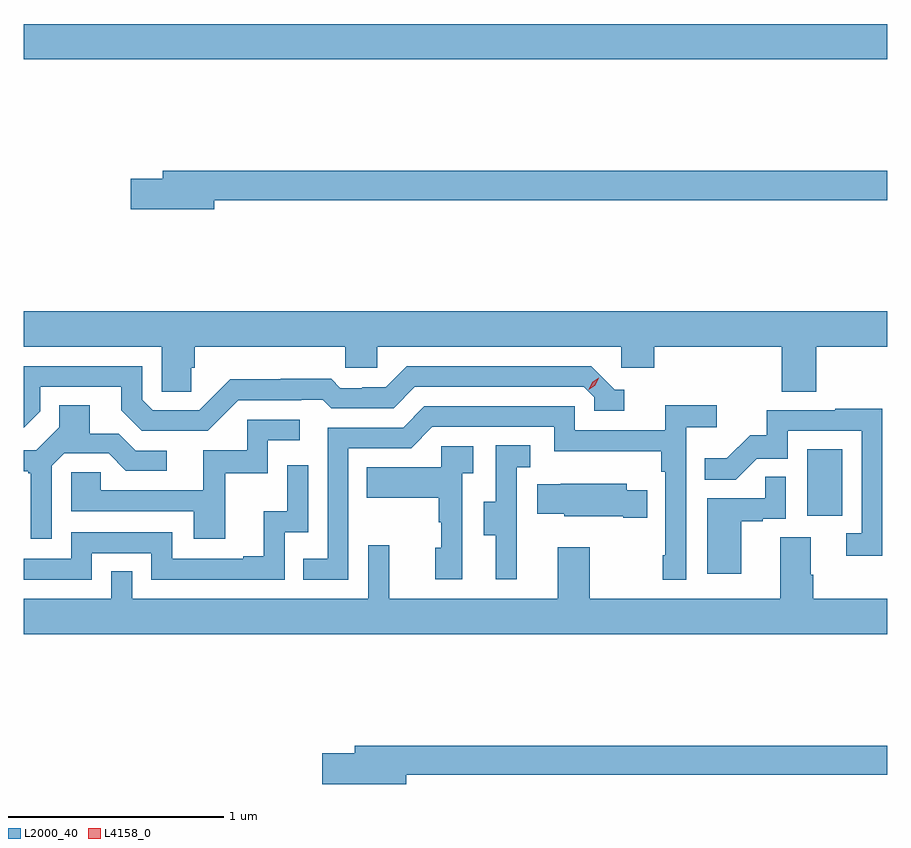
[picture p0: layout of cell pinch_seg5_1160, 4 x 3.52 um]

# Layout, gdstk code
import gdstk
lib = gdstk.Library(unit=1e-6, precision=1e-09)
def R(c, l, rs):  # rectangles x0, y0, x1, y1
    for r in rs: c.add(gdstk.rectangle(r[:2], r[2:], *l))
def P(c, l, *ps):  # polygons
    for p in ps: c.add(gdstk.Polygon(p, *l))
L2000_40 = (2000, 40)
L4158_0 = (4158, 0)

pinch_seg5_1160 = lib.new_cell('pinch_seg5_1160')
R(pinch_seg5_1160, L2000_40, [(880.424,841.326,880.588,841.633), (876.795,843.44,880.795,843.604)])
P(pinch_seg5_1160, L2000_40, [(877.678,842.788),(880.795,842.788),(880.795,842.924),(877.439,842.924),(877.439,842.888),(877.29,842.888),(877.29,842.746),(877.678,842.746)],
  [(877.571,842.01),(877.586,842.01),(877.586,842.108),(878.283,842.108),(878.283,842.01),(878.433,842.01),(878.433,842.108),(879.564,842.108),(879.564,842.01),(879.716,842.01),(879.716,842.108),(880.307,842.108),(880.307,841.9),(880.467,841.9),(880.467,842.108),(880.795,842.108),(880.795,842.272),(876.795,842.272),(876.795,842.108),(877.434,842.108),(877.434,841.9),(877.571,841.9)],
  [(877.788,841.86),(878.081,841.86),(878.081,841.863),(878.18,841.863),(878.219,841.824),(878.508,841.824),(878.607,841.923),(879.39,841.923),(879.438,841.875),(879.438,841.812),(879.577,841.812),(879.577,841.908),(879.534,841.908),(879.423,842.019),(878.57,842.019),(878.471,841.92),(878.364,841.92),(878.364,841.917),(878.261,841.917),(878.219,841.96),(877.986,841.96),(877.986,841.957),(877.75,841.957),(877.608,841.815),(877.392,841.815),(877.344,841.863),(877.344,842.019),(876.795,842.019),(876.795,841.734),(876.87,841.809),(876.87,841.923),(877.247,841.923),(877.247,841.813),(877.341,841.719),(877.647,841.719)],
  [(876.924,841.557),(876.981,841.614),(877.187,841.614),(877.268,841.533),(877.456,841.533),(877.456,841.626),(877.314,841.626),(877.234,841.706),(877.099,841.706),(877.099,841.838),(876.959,841.838),(876.959,841.736),(876.852,841.629),(876.795,841.629),(876.795,841.532),(876.816,841.532),(876.816,841.521),(876.827,841.521),(876.827,841.218),(876.924,841.218)],
  [(878.298,841.638),(878.589,841.638),(878.688,841.737),(879.252,841.737),(879.252,841.625),(879.748,841.625),(879.748,841.529),(879.768,841.529),(879.768,841.141),(879.756,841.141),(879.756,841.029),(879.864,841.029),(879.864,841.736),(880.006,841.736),(880.006,841.838),(879.767,841.838),(879.767,841.722),(879.348,841.722),(879.348,841.833),(878.651,841.833),(878.552,841.734),(878.202,841.734),(878.202,841.125),(878.089,841.125),(878.089,841.029),(878.298,841.029)],
  [(880.773,841.82),(880.555,841.82),(880.555,841.815),(880.237,841.815),(880.237,841.698),(880.16,841.698),(880.053,841.591),(879.949,841.591),(879.949,841.492),(880.093,841.492),(880.191,841.59),(880.335,841.59),(880.335,841.719),(880.677,841.719),(880.677,841.245),(880.605,841.245),(880.605,841.14),(880.773,841.14)],
  [(877.727,841.521),(877.926,841.521),(877.926,841.674),(878.074,841.674),(878.074,841.77),(877.83,841.77),(877.83,841.629),(877.625,841.629),(877.625,841.443),(877.151,841.443),(877.151,841.527),(877.014,841.527),(877.014,841.347),(877.583,841.347),(877.583,841.218),(877.727,841.218)],
  [(879.08,841.245),(879.078,841.245),(879.078,841.549),(879.142,841.549),(879.142,841.652),(878.982,841.652),(878.982,841.389),(878.927,841.389),(878.927,841.234),(878.981,841.234),(878.981,841.032),(879.08,841.032)],
  [(878.826,841.523),(878.878,841.523),(878.878,841.647),(878.73,841.647),(878.73,841.549),(878.383,841.549),(878.383,841.409),(878.718,841.409),(878.718,841.295),(878.728,841.295),(878.728,841.176),(878.702,841.176),(878.702,841.032),(878.826,841.032)],
  [(877.11,841.152),(877.386,841.152),(877.386,841.029),(878.004,841.029),(878.004,841.248),(878.112,841.248),(878.112,841.558),(878.016,841.558),(878.016,841.346),(877.907,841.346),(877.907,841.138),(877.811,841.138),(877.811,841.125),(877.482,841.125),(877.482,841.248),(877.014,841.248),(877.014,841.125),(876.795,841.125),(876.795,841.029),(877.11,841.029)],
  [(880.12,841.299),(880.22,841.299),(880.22,841.311),(880.326,841.311),(880.326,841.505),(880.231,841.505),(880.231,841.407),(879.962,841.407),(879.962,841.056),(880.12,841.056)],
  [(879.683,841.444),(879.589,841.444),(879.589,841.474),(879.283,841.474),(879.283,841.471),(879.175,841.471),(879.175,841.334),(879.3,841.334),(879.3,841.322),(879.572,841.322),(879.572,841.315),(879.683,841.315)],
  [(880.795,840.94),(880.454,840.94),(880.454,841.052),(880.441,841.052),(880.441,841.226),(880.301,841.226),(880.301,840.94),(879.417,840.94),(879.417,841.18),(879.269,841.18),(879.269,840.94),(878.489,840.94),(878.489,841.189),(878.391,841.189),(878.391,840.94),(877.296,840.94),(877.296,841.067),(877.2,841.067),(877.2,840.94),(876.795,840.94),(876.795,840.776),(880.795,840.776)],
  [(878.566,840.124),(880.795,840.124),(880.795,840.26),(878.327,840.26),(878.327,840.224),(878.178,840.224),(878.178,840.082),(878.566,840.082)])
P(pinch_seg5_1160, L4158_0, [(879.413,841.91),(879.413,841.91),(879.428,841.943),(879.458,841.964),(879.458,841.964),(879.458,841.963),(879.443,841.93),(879.413,841.91)])

lib.write_gds('pinch_seg5_1160.gds')
